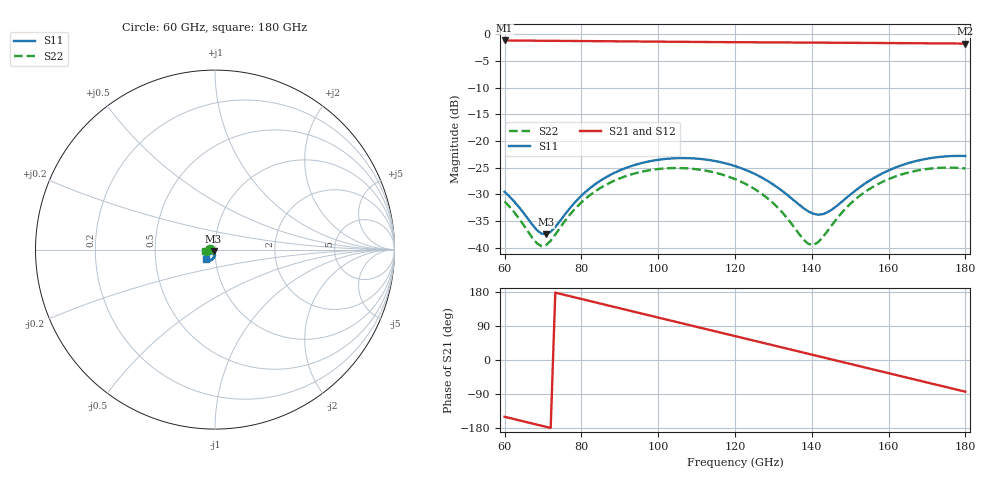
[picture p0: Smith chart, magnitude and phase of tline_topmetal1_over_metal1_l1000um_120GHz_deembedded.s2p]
! Created with skrf 2.0.1 (http://scikit-rf.org).
# GHz S DB R 50.0
!freq dBS11 angS11 dBS21 angS21 dBS12 angS12 dBS22 angS22
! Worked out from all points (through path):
!   101 points, 60 GHz to 180 GHz, reference 50 ohm
!   highest |S21| = -1.14 dB at 60 GHz (marker M1); lowest = -1.7 dB at 180 GHz (marker M2)
!   group delay of S21, straight-line fit = 6.8 ps
!   lowest |S11| = -37.5 dB at 70.8 GHz (marker M3), VSWR 1.03, Z = 49.2 - j1.03 ohm
!   |S11| at or under -10 dB: start of sweep to end of sweep
!   |S22| runs from -39.7 to -25.0 dB; largest |S21 - S12| = 1.5e-13
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60  -29.50 -172.4  -1.14 -149.9  -1.14 -149.9  -31.31 176.5
68.4  -36.66 -151.8  -1.19 -170.5  -1.19 -170.5  -39.15 -159.7
70.8  -37.47 -128.3  -1.20 -176.4  -1.20 -176.4  -39.49 -133.4
73.2  -36.09 -107.0  -1.22 177.7  -1.22 177.7  -37.51 -113.5
76.8  -32.75 -92.7  -1.24 168.9  -1.24 168.9  -33.95 -103.3
80.4  -29.96 -90.7  -1.26 160.1  -1.26 160.1  -31.21 -103.9
85.2  -27.29 -95.1  -1.28 148.3  -1.28 148.3  -28.67 -110.7
90  -25.49 -102.5  -1.31 136.5  -1.31 136.5  -26.98 -120.1
96  -24.06 -113.4  -1.34 121.8  -1.34 121.8  -25.69 -133.3
100.8  -23.43 -122.7  -1.37 110.0  -1.37 110.0  -25.17 -144.2
110.4  -23.30 -141.0  -1.42 86.6  -1.42 86.6  -25.31 -166.1
120  -24.67 -157.5  -1.47 63.1  -1.47 63.1  -27.11 173.5
128.4  -27.42 -166.9  -1.50 42.6  -1.50 42.6  -30.66 160.3
132  -29.18 -167.1  -1.52 33.8  -1.52 33.8  -33.11 159.0
138  -32.64 -154.7  -1.54 19.1  -1.54 19.1  -38.56 179.7
140.4  -33.61 -142.5  -1.55 13.2  -1.55 13.2  -39.46 -156.5
144  -33.37 -120.8  -1.56 4.4  -1.56 4.4  -36.93 -127.4
151.2  -29.35 -100.2  -1.59 -13.3  -1.59 -13.3  -31.00 -118.8
156  -26.98 -100.3  -1.61 -25.0  -1.61 -25.0  -28.55 -124.8
160.8  -25.24 -104.6  -1.63 -36.8  -1.63 -36.8  -26.89 -133.4
170.4  -23.25 -118.1  -1.68 -60.2  -1.68 -60.2  -25.19 -153.4
180  -22.79 -133.3  -1.72 -83.7  -1.72 -83.7  -25.14 -174.5
